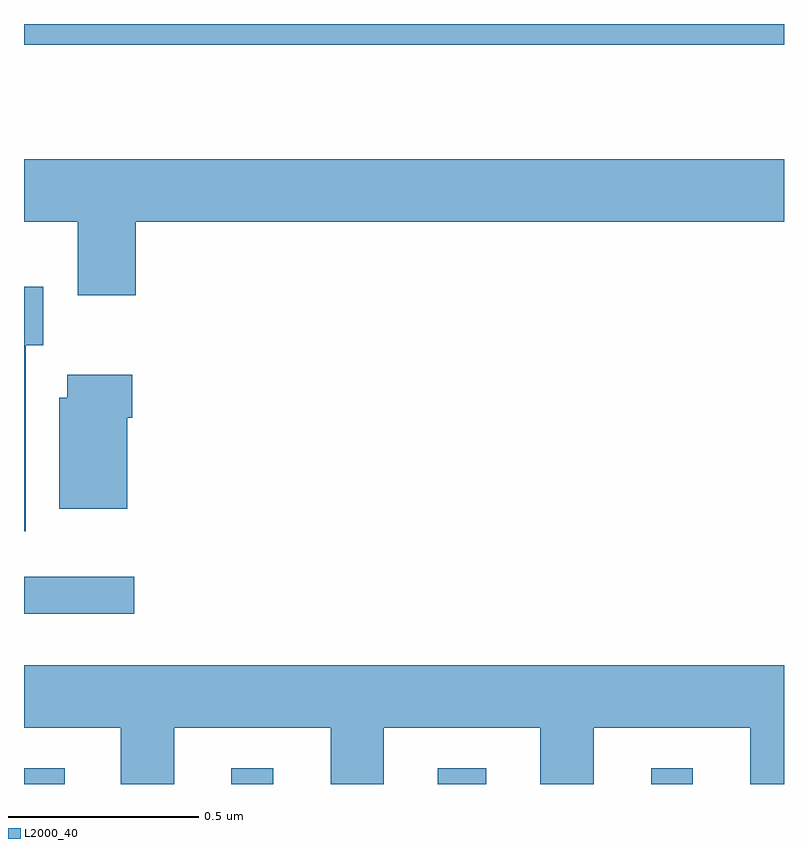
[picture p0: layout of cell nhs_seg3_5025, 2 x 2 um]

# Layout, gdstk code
import gdstk
lib = gdstk.Library(unit=1e-6, precision=1e-09)
def R(c, l, rs):  # rectangles x0, y0, x1, y1
    for r in rs: c.add(gdstk.rectangle(r[:2], r[2:], *l))
def P(c, l, *ps):  # polygons
    for p in ps: c.add(gdstk.Polygon(p, *l))
L2000_40 = (2000, 40)

nhs_seg3_5025 = lib.new_cell('nhs_seg3_5025')
R(nhs_seg3_5025, L2000_40, [(173,735.4,173.107,735.442), (173.546,735.4,173.656,735.442), (174.089,735.4,174.217,735.442), (174.65,735.4,174.76,735.442), (173,735.848,173.29,735.945), (173,737.346,175,737.4)])
P(nhs_seg3_5025, L2000_40, [(173.294,736.88),(175,736.88),(175,737.044),(173,737.044),(173,736.88),(173.141,736.88),(173.141,736.686),(173.294,736.686)],
  [(173.005,736.554),(173.05,736.554),(173.05,736.708),(173,736.708),(173,736.065),(173.005,736.065)],
  [(173.272,736.364),(173.285,736.364),(173.285,736.477),(173.114,736.477),(173.114,736.416),(173.093,736.416),(173.093,736.124),(173.272,736.124)],
  [(173.395,735.548),(173.807,735.548),(173.807,735.4),(173.947,735.4),(173.947,735.548),(174.359,735.548),(174.359,735.4),(174.499,735.4),(174.499,735.548),(174.911,735.548),(174.911,735.4),(175,735.4),(175,735.712),(173,735.712),(173,735.548),(173.255,735.548),(173.255,735.4),(173.395,735.4)])

lib.write_gds('nhs_seg3_5025.gds')
